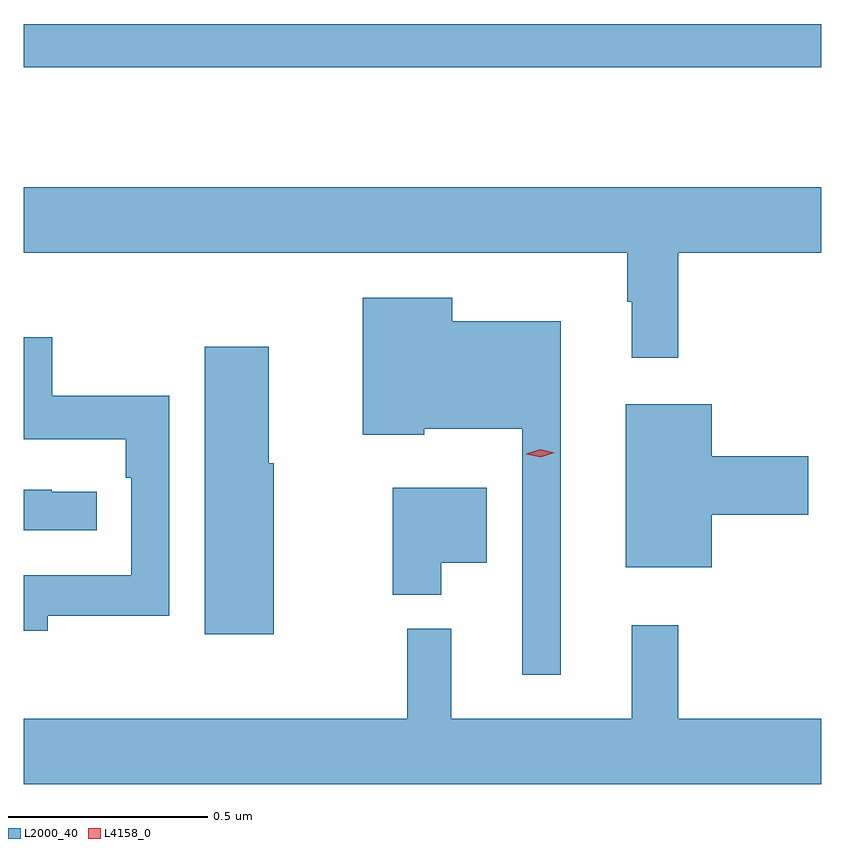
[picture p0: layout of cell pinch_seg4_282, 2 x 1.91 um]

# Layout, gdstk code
import gdstk
lib = gdstk.Library(unit=1e-6, precision=1e-09)
def R(c, l, rs):  # rectangles x0, y0, x1, y1
    for r in rs: c.add(gdstk.rectangle(r[:2], r[2:], *l))
def P(c, l, *ps):  # polygons
    for p in ps: c.add(gdstk.Polygon(p, *l))
L2000_40 = (2000, 40)
L4158_0 = (4158, 0)

pinch_seg4_282 = lib.new_cell('pinch_seg4_282')
R(pinch_seg4_282, L2000_40, [(938.767,813.27,940.767,813.378)])
P(pinch_seg4_282, L2000_40, [(940.409,812.804),(940.767,812.804),(940.767,812.968),(938.767,812.968),(938.767,812.804),(940.281,812.804),(940.281,812.681),(940.292,812.681),(940.292,812.541),(940.409,812.541)],
  [(940.114,812.632),(939.841,812.632),(939.841,812.692),(939.617,812.692),(939.617,812.348),(939.771,812.348),(939.771,812.363),(940.017,812.363),(940.017,811.746),(940.114,811.746)],
  [(938.827,811.894),(939.132,811.894),(939.132,812.446),(938.839,812.446),(938.839,812.592),(938.767,812.592),(938.767,812.336),(939.023,812.336),(939.023,812.24),(939.036,812.24),(939.036,811.995),(938.767,811.995),(938.767,811.856),(938.827,811.856)],
  [(939.394,812.277),(939.382,812.277),(939.382,812.569),(939.221,812.569),(939.221,811.848),(939.394,811.848)],
  [(940.492,812.147),(940.735,812.147),(940.735,812.294),(940.492,812.294),(940.492,812.425),(940.277,812.425),(940.277,812.015),(940.492,812.015)],
  [(939.814,812.027),(939.928,812.027),(939.928,812.215),(939.692,812.215),(939.692,811.946),(939.814,811.946)],
  [(938.95,812.205),(938.837,812.205),(938.837,812.21),(938.767,812.21),(938.767,812.109),(938.95,812.109)],
  [(940.767,811.636),(940.409,811.636),(940.409,811.87),(940.292,811.87),(940.292,811.636),(939.839,811.636),(939.839,811.861),(939.729,811.861),(939.729,811.636),(938.767,811.636),(938.767,811.472),(940.767,811.472)])
P(pinch_seg4_282, L4158_0, [(940.063,812.291),(940.027,812.299),(940.027,812.299),(940.027,812.3),(940.062,812.311),(940.098,812.303),(940.099,812.303),(940.098,812.303)])

lib.write_gds('pinch_seg4_282.gds')
